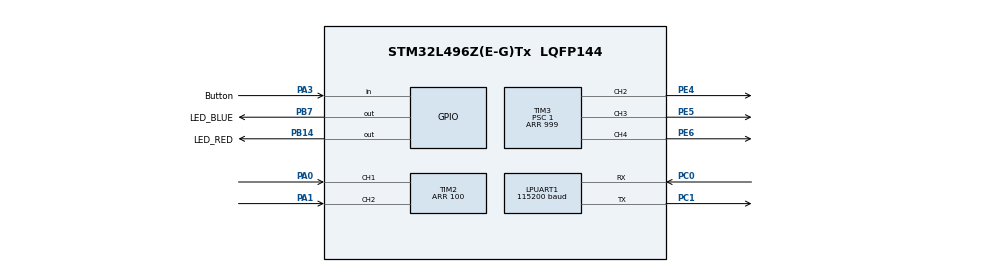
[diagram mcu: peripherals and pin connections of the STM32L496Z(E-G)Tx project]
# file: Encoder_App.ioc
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LPUART1.BaudRate=115200
LPUART1.WordLength=UART_WORDLENGTH_8B
Mcu.Family=STM32L4
Mcu.Name=STM32L496Z(E-G)Tx
Mcu.Package=LQFP144
NVIC.PriorityGroup=NVIC_PRIORITYGROUP_4
PA0.Signal=S_TIM2_CH1
PA1.Signal=S_TIM2_CH2
PA3.GPIO_Label=Button
PA3.GPIO_PuPd=GPIO_PULLUP
PA3.Signal=GPIO_Input
PB14.GPIO_Label=LED_RED
PB14.Signal=GPIO_Output
PB7.GPIO_Label=LED_BLUE
PB7.Signal=GPIO_Output
PC0.Mode=Asynchronous
PC0.Signal=LPUART1_RX
PC1.Mode=Asynchronous
PC1.Signal=LPUART1_TX
PE4.Signal=S_TIM3_CH2
PE5.Signal=S_TIM3_CH3
PE6.Signal=S_TIM3_CH4
ProjectManager.HeapSize=0x200
ProjectManager.StackSize=0x400
ProjectManager.TargetToolchain=STM32CubeIDE
RCC.HSE_VALUE=8000000
RCC.HSI48_VALUE=48000000
RCC.HSI_VALUE=16000000
RCC.LSE_VALUE=32768
RCC.MSI_VALUE=4000000
RCC.VCOOutputFreq_Value=32000000
SH.S_TIM2_CH1.0=TIM2_CH1,Encoder_Interface
SH.S_TIM2_CH2.0=TIM2_CH2,Encoder_Interface
SH.S_TIM3_CH2.0=TIM3_CH2,PWM Generation2 CH2
SH.S_TIM3_CH3.0=TIM3_CH3,PWM Generation3 CH3
SH.S_TIM3_CH4.0=TIM3_CH4,PWM Generation4 CH4
TIM2.EncoderMode=TIM_ENCODERMODE_TI1
TIM2.Period=100
TIM3.AutoReloadPreload=TIM_AUTORELOAD_PRELOAD_ENABLE
TIM3.Channel-PWM\ Generation2\ CH2=TIM_CHANNEL_2
TIM3.Channel-PWM\ Generation3\ CH3=TIM_CHANNEL_3
TIM3.Channel-PWM\ Generation4\ CH4=TIM_CHANNEL_4
TIM3.Period=999
TIM3.Prescaler=1
board=custom

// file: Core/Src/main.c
/* USER CODE BEGIN Header */
/**
 ******************************************************************************
 * @file           : main.c
 * @brief          : Main program body
 ******************************************************************************
 * @attention
 *
 * <h2><center>&copy; Copyright (c) 2021 STMicroelectronics.
 * All rights reserved.</center></h2>
 *
 * This software component is licensed by ST under BSD 3-Clause license,
 * the "License"; You may not use this file except in compliance with the
 * License. You may obtain a copy of the License at:
 *                        opensource.org/licenses/BSD-3-Clause
 *
 ******************************************************************************
 */
/* USER CODE END Header */
#include "main.h"
#include "usart.h"
#include "tim.h"
#include "gpio.h"

/* USER CODE BEGIN Includes */
#include <string.h>
#include <stdio.h>

/* USER CODE END Includes */

void SystemClock_Config(void);

int main(void) {
	/* USER CODE BEGIN 1 */
	char buffer[64];
	int counter;
	uint8_t previous_count;
	uint32_t r = 0, g = 0, b = 0;
	uint8_t state = 0; // state 0 - R, 1 - G, 2 - B
	char *zero_flag = "0 position detected [!] \n";
	char *red_flag = "[-RED-] ";
//	char *green_flag = "[-GREEN-]";
//	char *blue_flag = "[-BLUE-]";

	/* USER CODE END 1 */

	/* MCU Configuration--------------------------------------------------------*/

	/* Reset of all peripherals, Initializes the Flash interface and the Systick. */
	HAL_Init();

	/* Configure the system clock */
	SystemClock_Config();

	/* Initialize all configured peripherals */
	MX_GPIO_Init();
	MX_TIM2_Init();
	MX_LPUART1_UART_Init();
	MX_TIM3_Init();
	/* USER CODE BEGIN 2 */
	HAL_TIM_Encoder_Start(&htim2, TIM_CHANNEL_ALL);
	HAL_TIM_PWM_Start(&htim3, TIM_CHANNEL_2);
	HAL_TIM_PWM_Start(&htim3, TIM_CHANNEL_3);
	HAL_TIM_PWM_Start(&htim3, TIM_CHANNEL_4);
	/* USER CODE END 2 */

	/* Infinite loop */
	/* USER CODE BEGIN WHILE */
	while (1) {

		counter = __HAL_TIM_GET_COUNTER(&htim2);

		if (HAL_GPIO_ReadPin(GPIOA, Button_Pin) == GPIO_PIN_RESET) {
			HAL_GPIO_WritePin(GPIOB, LED_RED_Pin, GPIO_PIN_SET);
			state++;
		} else {
			HAL_GPIO_WritePin(GPIOB, LED_RED_Pin, GPIO_PIN_RESET);
		}

		//sprintf((char*)buffer, "Odczyt: %d\n", counter);
		//HAL_UART_Transmit(&hlpuart1, (uint8_t*)buffer, strlen(buffer), 1000);
		if (previous_count != counter) {

			if (state == 0) {
				HAL_UART_Transmit(&hlpuart1, (uint8_t*) red_flag, strlen(red_flag), 1000);
				r = counter;
			} else if (state == 1) {
				g = counter;
			} else if (state == 2) {
				b = counter;
			} else {
				state = 0;
			}
			__HAL_TIM_SET_COMPARE(&htim3, TIM_CHANNEL_2, r * 10);
			__HAL_TIM_SET_COMPARE(&htim3, TIM_CHANNEL_3, g * 10);
			__HAL_TIM_SET_COMPARE(&htim3, TIM_CHANNEL_4, b * 10);

			sprintf((char*) buffer, "Encoder Read Value: %d \n", counter);
			HAL_UART_Transmit(&hlpuart1, (uint8_t*) buffer, strlen(buffer),
					1000);

			if (counter == 0) {
				HAL_GPIO_WritePin(GPIOB, LED_BLUE_Pin, GPIO_PIN_SET);
				HAL_UART_Transmit(&hlpuart1, (uint8_t*) zero_flag,
						strlen(zero_flag), 1000);
			} else {
				HAL_GPIO_WritePin(GPIOB, LED_BLUE_Pin, GPIO_PIN_RESET);
			}

			previous_count = counter;
		}
		HAL_Delay(70);

		/* USER CODE END WHILE */

	}
}

void SystemClock_Config(void) {
	RCC_OscInitTypeDef RCC_OscInitStruct = { 0 };
	RCC_ClkInitTypeDef RCC_ClkInitStruct = { 0 };
	RCC_PeriphCLKInitTypeDef PeriphClkInit = { 0 };

	/** Initializes the RCC Oscillators according to the specified parameters
	 * in the RCC_OscInitTypeDef structure.
	 */
	RCC_OscInitStruct.OscillatorType = RCC_OSCILLATORTYPE_MSI;
	RCC_OscInitStruct.MSIState = RCC_MSI_ON;
	RCC_OscInitStruct.MSICalibrationValue = 0;
	RCC_OscInitStruct.MSIClockRange = RCC_MSIRANGE_6;
	RCC_OscInitStruct.PLL.PLLState = RCC_PLL_NONE;
	if (HAL_RCC_OscConfig(&RCC_OscInitStruct) != HAL_OK) {
		Error_Handler();
	}
	/** Initializes the CPU, AHB and APB buses clocks
	 */
	RCC_ClkInitStruct.ClockType = RCC_CLOCKTYPE_HCLK | RCC_CLOCKTYPE_SYSCLK
			| RCC_CLOCKTYPE_PCLK1 | RCC_CLOCKTYPE_PCLK2;
	RCC_ClkInitStruct.SYSCLKSource = RCC_SYSCLKSOURCE_MSI;
	RCC_ClkInitStruct.AHBCLKDivider = RCC_SYSCLK_DIV1;
	RCC_ClkInitStruct.APB1CLKDivider = RCC_HCLK_DIV1;
	RCC_ClkInitStruct.APB2CLKDivider = RCC_HCLK_DIV1;

	if (HAL_RCC_ClockConfig(&RCC_ClkInitStruct, FLASH_LATENCY_0) != HAL_OK) {
		Error_Handler();
	}
	PeriphClkInit.PeriphClockSelection = RCC_PERIPHCLK_LPUART1;
	PeriphClkInit.Lpuart1ClockSelection = RCC_LPUART1CLKSOURCE_PCLK1;
	if (HAL_RCCEx_PeriphCLKConfig(&PeriphClkInit) != HAL_OK) {
		Error_Handler();
	}
	/** Configure the main internal regulator output voltage
	 */
	if (HAL_PWREx_ControlVoltageScaling(PWR_REGULATOR_VOLTAGE_SCALE1)
			!= HAL_OK) {
		Error_Handler();
	}
}

void Error_Handler(void) {
	__disable_irq();
	while (1) {
	}
}

/************************ (C) COPYRIGHT STMicroelectronics *****END OF FILE****/
